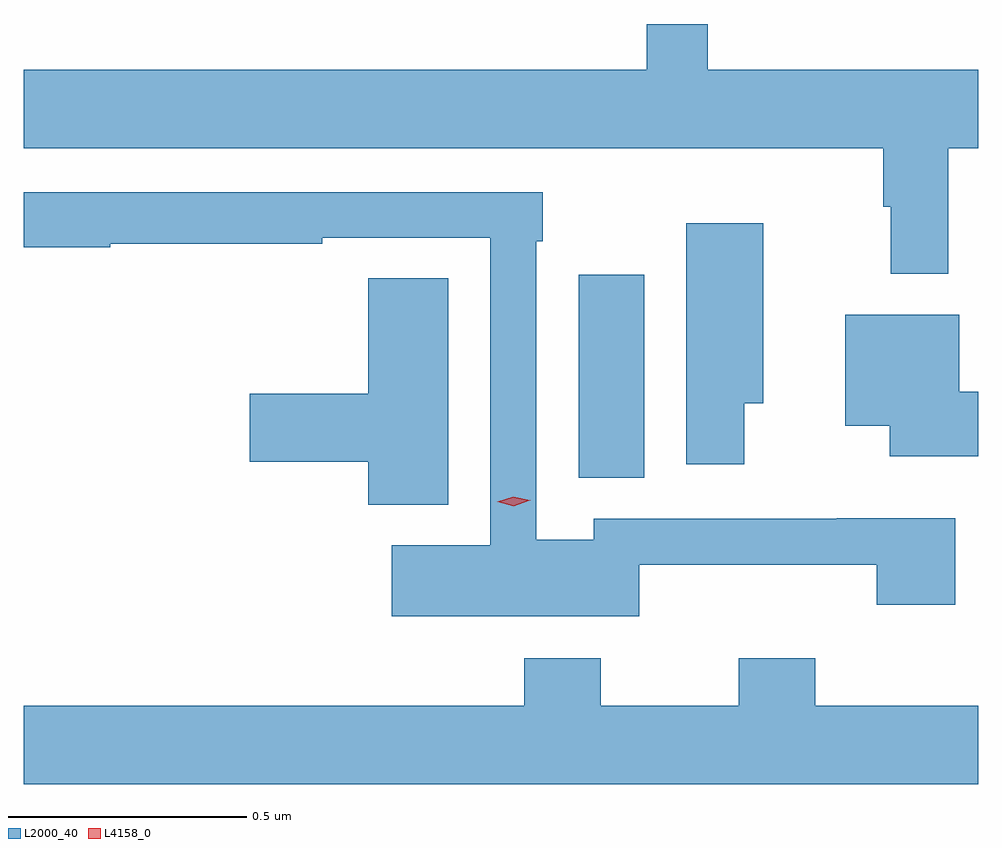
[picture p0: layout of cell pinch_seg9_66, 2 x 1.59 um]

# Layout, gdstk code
import gdstk
lib = gdstk.Library(unit=1e-6, precision=1e-09)
def R(c, l, rs):  # rectangles x0, y0, x1, y1
    for r in rs: c.add(gdstk.rectangle(r[:2], r[2:], *l))
def P(c, l, *ps):  # polygons
    for p in ps: c.add(gdstk.Polygon(p, *l))
L2000_40 = (2000, 40)
L4158_0 = (4158, 0)

pinch_seg9_66 = lib.new_cell('pinch_seg9_66')
R(pinch_seg9_66, L2000_40, [(959.453,1171.753,959.59,1172.179)])
P(pinch_seg9_66, L2000_40, [(960.227,1172.444),(960.29,1172.444),(960.29,1172.608),(959.723,1172.608),(959.723,1172.704),(959.595,1172.704),(959.595,1172.608),(958.29,1172.608),(958.29,1172.444),(960.091,1172.444),(960.091,1172.321),(960.106,1172.321),(960.106,1172.181),(960.227,1172.181)],
  [(959.58,1171.571),(960.077,1171.571),(960.077,1171.488),(960.242,1171.488),(960.242,1171.669),(959.993,1171.669),(959.993,1171.668),(959.484,1171.668),(959.484,1171.624),(959.364,1171.624),(959.364,1172.249),(959.377,1172.249),(959.377,1172.352),(958.29,1172.352),(958.29,1172.236),(958.471,1172.236),(958.471,1172.244),(958.916,1172.244),(958.916,1172.256),(959.268,1172.256),(959.268,1171.612),(959.061,1171.612),(959.061,1171.463),(959.58,1171.463)],
  [(959.8,1171.91),(959.839,1171.91),(959.839,1172.287),(959.678,1172.287),(959.678,1171.782),(959.8,1171.782)],
  [(959.179,1172.171),(959.012,1172.171),(959.012,1171.929),(958.764,1171.929),(958.764,1171.787),(959.012,1171.787),(959.012,1171.697),(959.179,1171.697)],
  [(960.29,1171.934),(960.25,1171.934),(960.25,1172.095),(960.011,1172.095),(960.011,1171.862),(960.104,1171.862),(960.104,1171.799),(960.29,1171.799)],
  [(960.29,1171.276),(959.948,1171.276),(959.948,1171.375),(959.788,1171.375),(959.788,1171.276),(959.499,1171.276),(959.499,1171.375),(959.339,1171.375),(959.339,1171.276),(958.29,1171.276),(958.29,1171.112),(960.29,1171.112)])
P(pinch_seg9_66, L4158_0, [(959.317,1171.694),(959.282,1171.703),(959.282,1171.703),(959.282,1171.703),(959.316,1171.714),(959.351,1171.706),(959.352,1171.706),(959.351,1171.706)])

lib.write_gds('pinch_seg9_66.gds')
